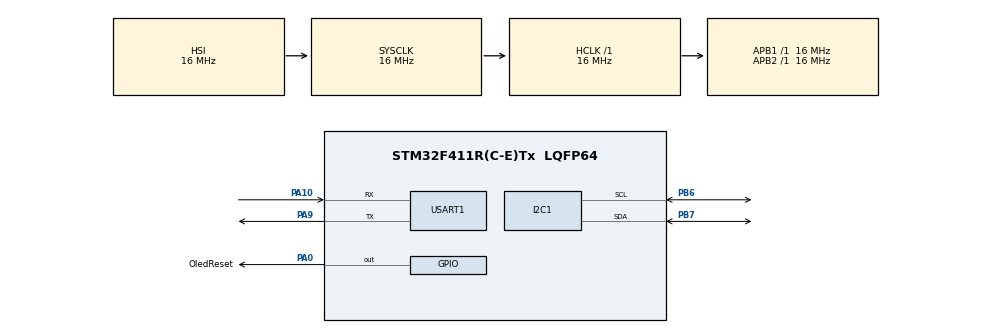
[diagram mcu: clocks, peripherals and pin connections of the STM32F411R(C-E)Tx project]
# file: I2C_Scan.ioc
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I2C1.I2C_Mode=I2C_Fast
Mcu.Family=STM32F4
Mcu.Name=STM32F411R(C-E)Tx
Mcu.Package=LQFP64
NVIC.PriorityGroup=NVIC_PRIORITYGROUP_4
PA0-WKUP.GPIO_Label=OledReset
PA0-WKUP.Signal=GPIO_Output
PA10.Mode=Asynchronous
PA10.Signal=USART1_RX
PA9.Mode=Asynchronous
PA9.Signal=USART1_TX
PB6.Mode=I2C
PB6.Signal=I2C1_SCL
PB7.Mode=I2C
PB7.Signal=I2C1_SDA
ProjectManager.HeapSize=0x200
ProjectManager.StackSize=0x400
ProjectManager.TargetToolchain=STM32CubeIDE
RCC.AHBFreq_Value=16000000
RCC.APB1Freq_Value=16000000
RCC.APB2Freq_Value=16000000
RCC.CortexFreq_Value=16000000
RCC.HSE_VALUE=25000000
RCC.HSI_VALUE=16000000
RCC.LSE_VALUE=32768
RCC.SYSCLKFreq_VALUE=16000000
RCC.VCOOutputFreq_Value=192000000
USART1.VirtualMode=VM_ASYNC
board=custom

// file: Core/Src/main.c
/* USER CODE BEGIN Header */
/**
 ******************************************************************************
 * @file           : main.c
 * @brief          : Main program body
 ******************************************************************************
 * @attention
 *
 * Copyright (c) 2023 STMicroelectronics.
 * All rights reserved.
 *
 * This software is licensed under terms that can be found in the LICENSE file
 * in the root directory of this software component.
 * If no LICENSE file comes with this software, it is provided AS-IS.
 *
 ******************************************************************************
 */
/* USER CODE END Header */
#include "main.h"

/* USER CODE BEGIN Includes */
#include "uart.h"
/* USER CODE END Includes */

I2C_HandleTypeDef hi2c1;

UART_HandleTypeDef huart1;

void SystemClock_Config(void);
static void MX_GPIO_Init(void);
static void MX_I2C1_Init(void);
static void MX_USART1_UART_Init(void);

/* USER CODE BEGIN 0 */
// define address and size. memory not duplication.
#define memTempBase 0
#define memTempSize 4
#define memCO2Base (memTempBase + memTempSize)
#define memCO2Size 4
#define memDeviceNameBase (memCO2Base + memCO2Size)
#define memDeviceNameSize 20

void writeEeprom(uint16_t address, uint8_t data)
{
	uint8_t txBuffer[3];
	txBuffer[0] = address >> 8;
	txBuffer[1] = address & 0x00ff;
	txBuffer[2] = data;
	HAL_I2C_Master_Transmit(&hi2c1, 0xA0, txBuffer, sizeof(txBuffer), 1);
	HAL_Delay(5); // eeprom write cycle.
}

uint8_t readEeprom(uint16_t address)
{
	uint8_t txBuffer[2];
	uint8_t rxBuffer;
	txBuffer[0] = address >> 8;
	txBuffer[1] = address & 0x00ff;
	HAL_I2C_Master_Transmit(&hi2c1, 0xA0, txBuffer, sizeof(txBuffer), 1);
	HAL_I2C_Master_Receive(&hi2c1, 0xA0, &rxBuffer, sizeof(rxBuffer), 1);
	return rxBuffer;
}

// easy way with hal function.
void writeEeprom2(uint16_t address, uint8_t data)
{
	HAL_I2C_Mem_Write(&hi2c1, 0xA0, address, 2, &data, 1, 1);
	HAL_Delay(5);
}

uint8_t readEeprom2(uint16_t address)
{
	uint8_t rxBuffer;
	HAL_I2C_Mem_Read(&hi2c1, 0xA0, address, 2, &rxBuffer, 1, 1);
	return rxBuffer;
}

typedef struct
{
	uint8_t sec;
	uint8_t min;
	uint8_t hour;
	uint8_t day;
	uint8_t date;
	uint8_t month;
	uint8_t year;
}DateTime_t;

void writeRtc(DateTime_t dateTime)
{
	HAL_I2C_Mem_Write(&hi2c1, 0xD0, 0, 1, &dateTime, 7, 1);
}

DateTime_t readRtc()
{
	DateTime_t result;
	HAL_I2C_Mem_Read(&hi2c1, 0xD0, 0, 1, &result, 7, 1);
	return result;
}

void writeEeprom4Byte(uint16_t address, uint32_t data)
{
	uint8_t buffer[4];
	memcpy(buffer, &data, 4); // 8bit array. automatic bit shifting.
	/*buffer[0] = data >> 24;
	buffer[1] = data >> 16;
	buffer[2] = data >> 8;
	buffer[3] = data;*/
	writeEeprom(address, buffer[0]);
	writeEeprom(address + 1, buffer[1]);
	writeEeprom(address + 2, buffer[2]);
	writeEeprom(address + 3, buffer[3]);
}

uint32_t readEeprom4Byte(uint16_t address)
{
	uint8_t rxBuffer[4];
	uint32_t result;
	rxBuffer[0] = readEeprom(address);
	rxBuffer[1] = readEeprom(address + 1);
	rxBuffer[2] = readEeprom(address + 2);
	rxBuffer[3] = readEeprom(address + 3);
	memcpy(&result, rxBuffer, 4); // (target, rxBuffer, Byte)
	return result;
}
/* USER CODE END 0 */

int main(void)
{

  /* MCU Configuration--------------------------------------------------------*/

  /* Reset of all peripherals, Initializes the Flash interface and the Systick. */
  HAL_Init();

  /* Configure the system clock */
  SystemClock_Config();

  /* Initialize all configured peripherals */
  MX_GPIO_Init();
  MX_I2C1_Init();
  MX_USART1_UART_Init();
  /* USER CODE BEGIN 2 */
	printf("I2C Scanner\n");
	//reset
	HAL_GPIO_WritePin(OledReset_GPIO_Port, OledReset_Pin, 0);
	HAL_Delay(1);
	HAL_GPIO_WritePin(OledReset_GPIO_Port, OledReset_Pin, 1);

	for(int address = 0; address < 256; address++)
	{
		int result = HAL_I2C_IsDeviceReady(&hi2c1, address, 0, 1);
		if (result == HAL_OK)
		{
			printf("%02x = %d\n", address, result);
		}
	}
	/*
	 // Write action
	 uint8_t txBuffer[3];
	 txBuffer[0] = upperAddress;
	 txBuffer[1] = lowerAddress;
	 txBuffer[2] = data;
	 HAL_I2C_Master_Transmit(&hi2c1, 0x7f, txBuffer, 3, 1); // 0x7f : I2C device address.

	 // Read action
	 uint8_t txBuffer[2];
	 uint8_t rxBuffer;
	 txBuffer[0] = upperAddress;
	 txBuffer[1] = lowerAddress;
	 HAL_I2C_Master_Transmit(&hi2c1, 0x7f, txBuffer, 2, 1);
	 HAL_I2C_Master_Receive(&hi2c1, 0x7f, &rxBuffer, 1, 1);

	writeEeprom4Byte(memTempBase, 0x12345678);
	writeEeprom4Byte(memCO2Base, 0x87654321);*/
  /* USER CODE END 2 */

  /* Infinite loop */
	while (1)
	{

	}
}

void SystemClock_Config(void)
{
  RCC_OscInitTypeDef RCC_OscInitStruct = {0};
  RCC_ClkInitTypeDef RCC_ClkInitStruct = {0};

  /** Configure the main internal regulator output voltage
  */
  __HAL_RCC_PWR_CLK_ENABLE();
  __HAL_PWR_VOLTAGESCALING_CONFIG(PWR_REGULATOR_VOLTAGE_SCALE1);

  /** Initializes the RCC Oscillators according to the specified parameters
  * in the RCC_OscInitTypeDef structure.
  */
  RCC_OscInitStruct.OscillatorType = RCC_OSCILLATORTYPE_HSI;
  RCC_OscInitStruct.HSIState = RCC_HSI_ON;
  RCC_OscInitStruct.HSICalibrationValue = RCC_HSICALIBRATION_DEFAULT;
  RCC_OscInitStruct.PLL.PLLState = RCC_PLL_NONE;
  if (HAL_RCC_OscConfig(&RCC_OscInitStruct) != HAL_OK)
  {
    Error_Handler();
  }

  /** Initializes the CPU, AHB and APB buses clocks
  */
  RCC_ClkInitStruct.ClockType = RCC_CLOCKTYPE_HCLK|RCC_CLOCKTYPE_SYSCLK
                              |RCC_CLOCKTYPE_PCLK1|RCC_CLOCKTYPE_PCLK2;
  RCC_ClkInitStruct.SYSCLKSource = RCC_SYSCLKSOURCE_HSI;
  RCC_ClkInitStruct.AHBCLKDivider = RCC_SYSCLK_DIV1;
  RCC_ClkInitStruct.APB1CLKDivider = RCC_HCLK_DIV1;
  RCC_ClkInitStruct.APB2CLKDivider = RCC_HCLK_DIV1;

  if (HAL_RCC_ClockConfig(&RCC_ClkInitStruct, FLASH_LATENCY_0) != HAL_OK)
  {
    Error_Handler();
  }
}

static void MX_I2C1_Init(void)
{

  hi2c1.Instance = I2C1;
  hi2c1.Init.ClockSpeed = 400000;
  hi2c1.Init.DutyCycle = I2C_DUTYCYCLE_2;
  hi2c1.Init.OwnAddress1 = 0;
  hi2c1.Init.AddressingMode = I2C_ADDRESSINGMODE_7BIT;
  hi2c1.Init.DualAddressMode = I2C_DUALADDRESS_DISABLE;
  hi2c1.Init.OwnAddress2 = 0;
  hi2c1.Init.GeneralCallMode = I2C_GENERALCALL_DISABLE;
  hi2c1.Init.NoStretchMode = I2C_NOSTRETCH_DISABLE;
  if (HAL_I2C_Init(&hi2c1) != HAL_OK)
  {
    Error_Handler();
  }

}

static void MX_USART1_UART_Init(void)
{

  huart1.Instance = USART1;
  huart1.Init.BaudRate = 115200;
  huart1.Init.WordLength = UART_WORDLENGTH_8B;
  huart1.Init.StopBits = UART_STOPBITS_1;
  huart1.Init.Parity = UART_PARITY_NONE;
  huart1.Init.Mode = UART_MODE_TX_RX;
  huart1.Init.HwFlowCtl = UART_HWCONTROL_NONE;
  huart1.Init.OverSampling = UART_OVERSAMPLING_16;
  if (HAL_UART_Init(&huart1) != HAL_OK)
  {
    Error_Handler();
  }

}

static void MX_GPIO_Init(void)
{
  GPIO_InitTypeDef GPIO_InitStruct = {0};

  /* GPIO Ports Clock Enable */
  __HAL_RCC_GPIOA_CLK_ENABLE();
  __HAL_RCC_GPIOB_CLK_ENABLE();

  /*Configure GPIO pin Output Level */
  HAL_GPIO_WritePin(OledReset_GPIO_Port, OledReset_Pin, GPIO_PIN_RESET);

  /*Configure GPIO pin : OledReset_Pin */
  GPIO_InitStruct.Pin = OledReset_Pin;
  GPIO_InitStruct.Mode = GPIO_MODE_OUTPUT_PP;
  GPIO_InitStruct.Pull = GPIO_NOPULL;
  GPIO_InitStruct.Speed = GPIO_SPEED_FREQ_LOW;
  HAL_GPIO_Init(OledReset_GPIO_Port, &GPIO_InitStruct);

}

void Error_Handler(void)
{
	__disable_irq();
	while (1)
	{
	}
}
